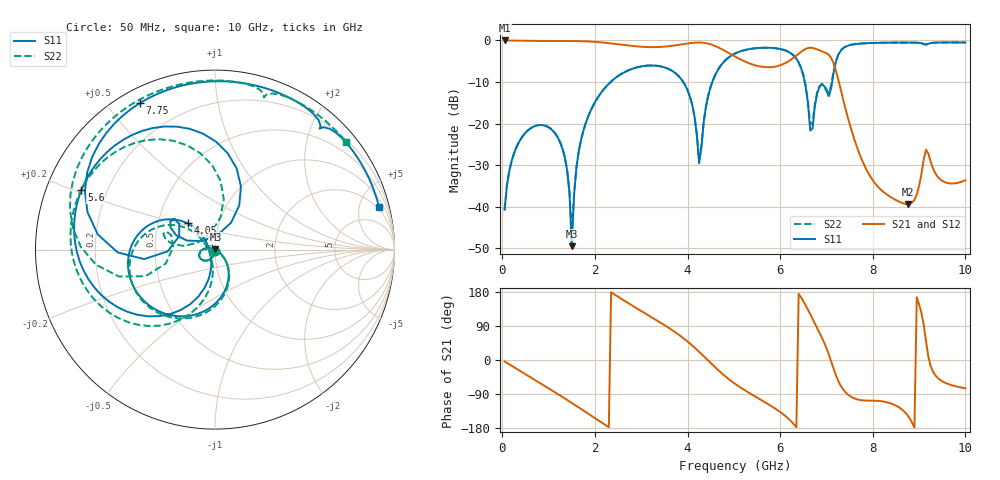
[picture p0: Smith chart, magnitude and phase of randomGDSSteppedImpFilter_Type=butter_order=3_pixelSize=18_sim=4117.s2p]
! freq	dB(S11)	phase(S11)	dB(S12)	phase(S12)
!  dB(S21)	phase(S21)	dB(S22)	phase(S22)
!S-par simulation data
#  GHz  S  DB  R 50
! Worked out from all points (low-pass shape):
!   200 points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, 50 MHz to 10 GHz, reference 50 ohm
!   highest |S21| = -0.01 dB at 50 MHz (marker M1); lowest = -39.5 dB at 8.75 GHz (marker M2)
!   |S21| within 3 dB of the highest: start of sweep to 4.886 GHz; 6.422 GHz to 6.988 GHz (566.1 MHz wide, 8.44 % of centre)
!   lowest |S11| = -49.5 dB at 1.5 GHz (marker M3), VSWR 1.01, Z = 50.2 + j0.251 ohm
!   |S11| at or under -10 dB: start of sweep to 2.34 GHz; 3.906 GHz to 4.536 GHz (629.7 MHz wide, 14.9 % of centre); 6.531 GHz to 7.122 GHz (591.2 MHz wide, 8.66 % of centre)
!   |S22| runs from -45.9 to -0.5 dB; largest |S21 - S12| = 0
!   S11 on the Smith chart (normalised r, x): 50 MHz: 1.00, -0.02; 4.05 GHz: 0.71, +0.22; 5.6 GHz: 0.11, +0.21; 7.75 GHz: 0.06, +0.61; 10 GHz: 1.67, +7.40
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0.05  -40.76 -90.7  -0.01 -3.8  -0.01 -3.8  -40.74 -90.9
0.35  -24.68 -116.5  -0.06 -26.3  -0.06 -26.3  -24.68 -115.7
1  -20.91 -166.3  -0.13 -74.8  -0.13 -74.8  -20.91 -163.5
1.35  -28.14 166.6  -0.13 -101.5  -0.13 -101.5  -28.12 173.3
1.5  -49.53 48.6  -0.14 -113.2  -0.14 -113.2  -45.89 -118.5
1.75  -21.79 -45.1  -0.20 -133.1  -0.20 -133.1  -21.76 -45.6
2.45  -8.97 -101.7  -0.85 170.7  -0.85 170.7  -8.97 -98.6
3.4  -6.21 -172.2  -1.58 100.0  -1.58 100.0  -6.21 -166.6
4.05  -13.48 136.1  -0.66 43.7  -0.66 43.7  -13.47 144.0
4.25  -29.59 172.2  -0.51 21.7  -0.51 21.7  -28.80 -177.3
4.5  -11.15 -109.4  -0.95 -8.0  -0.95 -8.0  -11.11 -102.0
5.05  -3.03 -162.8  -4.03 -64.8  -4.03 -64.8  -3.01 -153.2
5.6  -1.78 155.9  -6.34 -106.3  -6.34 -106.3  -1.77 167.6
6.35  -4.43 89.4  -3.65 -177.4  -3.65 -177.4  -4.41 105.0
6.7  -21.21 147.1  -1.81 108.7  -1.81 108.7  -19.84 156.7
7.05  -13.42 159.4  -3.46 14.9  -3.46 14.9  -12.66 176.0
7.3  -2.61 163.7  -11.46 -66.3  -11.46 -66.3  -2.52 178.8
7.75  -0.75 117.0  -28.36 -106.1  -28.36 -106.1  -0.73 135.2
8.35  -0.54 83.8  -37.45 -113.0  -37.45 -113.0  -0.54 104.5
8.75  -0.52 65.3  -39.45 -145.4  -39.45 -145.4  -0.52 87.4
9.15  -1.00 49.2  -26.32 49.3  -26.32 49.3  -1.01 72.2
10  -0.50 14.7  -33.67 -74.7  -33.67 -74.7  -0.49 39.3
